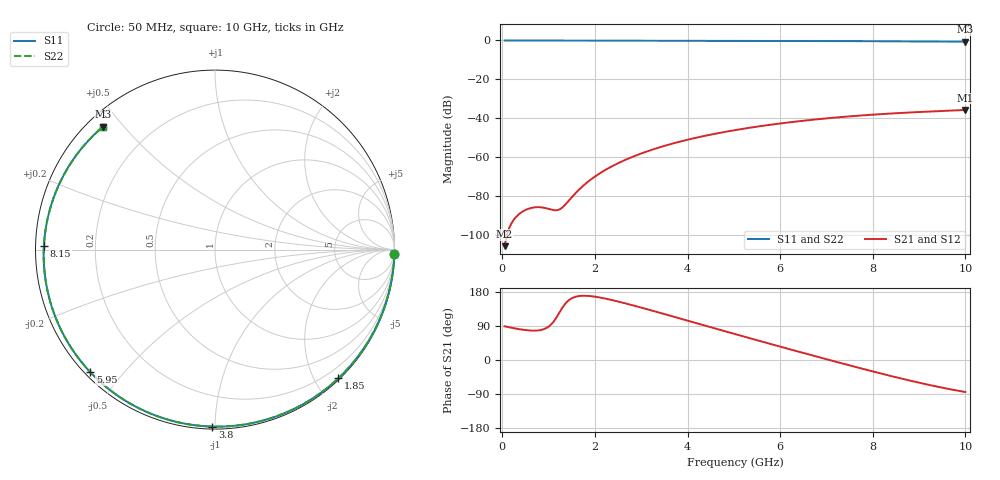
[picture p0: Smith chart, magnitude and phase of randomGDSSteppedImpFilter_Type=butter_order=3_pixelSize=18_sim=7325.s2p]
! freq	dB(S11)	phase(S11)	dB(S12)	phase(S12)
!  dB(S21)	phase(S21)	dB(S22)	phase(S22)
!S-par simulation data
#  GHz  S  DB  R 50
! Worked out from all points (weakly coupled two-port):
!   200 points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, 50 MHz to 10 GHz, reference 50 ohm
!   highest |S21| = -35.67 dB at 10 GHz (marker M1); lowest = -105.6 dB at 50 MHz (marker M2)
!   lowest |S11| = -0.7 dB at 10 GHz (marker M3), VSWR 26.21, Z = 2.28 + j22 ohm
!   |S11| at or under -10 dB: nowhere
!   |S22| runs from -0.7 to 0.0 dB; largest |S21 - S12| = 0
!   S11 on the Smith chart (normalised r, x): 50 MHz: 0, -89; 1.85 GHz: 0.02, -2.34; 3.8 GHz: 0.01, -0.99; 5.95 GHz: 0.02, -0.41; 8.15 GHz: 0.02, +0.01; 10 GHz: 0.05, +0.44
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0.05  -0.00 -1.3  -105.60 89.0  -105.60 89.0  -0.00 -1.3
0.75  -0.02 -19.0  -85.58 77.8  -85.58 77.8  -0.02 -19.0
1.5  -0.05 -37.7  -80.51 162.8  -80.51 162.8  -0.05 -37.7
1.55  -0.05 -38.9  -79.20 165.5  -79.20 165.5  -0.05 -38.9
1.75  -0.06 -43.8  -74.52 169.5  -74.52 169.5  -0.06 -43.8
1.85  -0.06 -46.2  -72.52 169.2  -72.52 169.2  -0.06 -46.2
2.15  -0.07 -53.4  -67.54 163.9  -67.54 163.9  -0.07 -53.4
2.5  -0.08 -61.6  -63.02 154.3  -63.02 154.3  -0.08 -61.6
2.9  -0.09 -70.8  -58.91 141.6  -58.91 141.6  -0.09 -70.8
3.4  -0.11 -82.1  -54.83 124.7  -54.83 124.7  -0.11 -82.1
3.8  -0.12 -90.8  -52.15 110.9  -52.15 110.9  -0.12 -90.8
4.4  -0.14 -103.7  -48.82 90.0  -48.82 90.0  -0.14 -103.7
5.05  -0.18 -117.2  -45.92 67.6  -45.92 67.6  -0.18 -117.2
5.95  -0.23 -135.5  -42.76 37.0  -42.76 37.0  -0.23 -135.5
6.7  -0.28 -150.7  -40.70 11.9  -40.70 11.9  -0.28 -150.7
7.45  -0.35 -166.2  -39.05 -12.6  -39.05 -12.6  -0.35 -166.2
8.15  -0.41 178.7  -37.85 -34.8  -37.85 -34.8  -0.41 178.8
8.35  -0.44 174.2  -37.56 -41.0  -37.56 -41.0  -0.44 174.3
8.8  -0.49 163.8  -36.97 -54.3  -36.97 -54.3  -0.49 163.8
9.2  -0.54 154.0  -36.52 -65.3  -36.52 -65.3  -0.54 154.0
9.6  -0.60 143.6  -36.09 -75.5  -36.09 -75.5  -0.60 143.6
10  -0.66 132.4  -35.67 -84.5  -35.67 -84.5  -0.66 132.5
